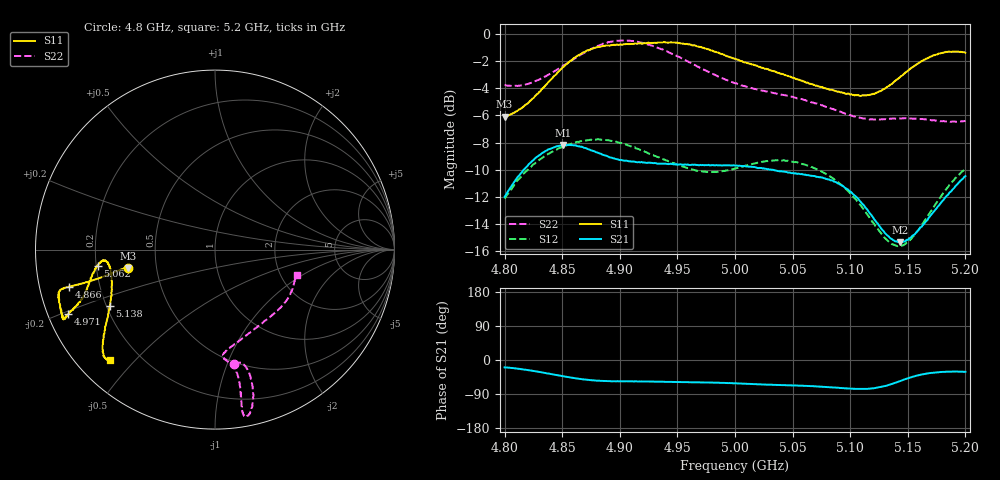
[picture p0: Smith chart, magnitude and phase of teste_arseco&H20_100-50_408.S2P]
! Network Analyzer HP8722D
! Hewlett-Packard
! Data name: Linha & Wilkinson
! Saver's name: Rodrigo Anjos
! Comments: Teste da utilização de aquisição
! continua pelo VNA HP8722D
! Time and date: 6/5/2025 15:58
!  Frequency  S11  S21  S12  S22
# HZ  S  MA R 50
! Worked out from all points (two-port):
!   401 points, 4.8 GHz to 5.2 GHz, reference 50 ohm
!   highest |S21| = -8.17 dB at 4.851 GHz (marker M1); lowest = -15.3 dB at 5.143 GHz (marker M2)
!   |S21| within 3 dB of the highest: 4.806 GHz to 5.093 GHz (286.9 MHz wide, 5.8 % of centre); 5.191776 GHz to end of sweep
!   lowest |S11| = -6.1 dB at 4.8 GHz (marker M3), VSWR 2.97, Z = 17 - j4.61 ohm
!   |S11| at or under -10 dB: nowhere
!   |S22| runs from -6.5 to -0.5 dB; largest |S21 - S12| = 0.62
!   S11 on the Smith chart (normalised r, x): 4.8 GHz: 0.34, -0.09; 4.866 GHz: 0.09, -0.12; 4.971 GHz: 0.06, -0.21; 5.062 GHz: 0.21, -0.07; 5.138 GHz: 0.21, -0.24; 5.2 GHz: 0.10, -0.43
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4.8e9  0.4961 -168.1  0.2512 -19.5  0.2478 -140.7  0.6486 -80.4
4.823e9  0.5694 -167.4  0.3374 -27.9  0.3242 -143.5  0.6604 -75.9
4.851e9  0.7555 -165.7  0.3902 -43.1  0.3849 -149.0  0.7652 -74.4
4.866e9  0.8407 -165.7  0.384 -50.1  0.4029 -151.6  0.8367 -75.1
4.867e9  0.8476 -165.7  0.3843 -50.6  0.4031 -151.8  0.8428 -75.3
4.898e9  0.9124 -162.7  0.3455 -55.9  0.3988 -156.2  0.9422 -78.7
4.914e9  0.9202 -159.4  0.3375 -56.3  0.3786 -157.0  0.9373 -80.2
4.934e9  0.9293 -156.2  0.3328 -57.4  0.3513 -155.5  0.8846 -80.4
4.971e9  0.8924 -156.3  0.3287 -59.1  0.3122 -146.4  0.7467 -79.6
5e9  0.8098 -158.9  0.3276 -61.7  0.3199 -137.1  0.6581 -81.1
5.038e9  0.7177 -166.0  0.3124 -65.9  0.3432 -134.4  0.6008 -85.7
5.062e9  0.6609 -172.1  0.3022 -68.5  0.3288 -136.2  0.5674 -83.9
5.067e9  0.6526 -172.9  0.3003 -69.0  0.3236 -136.6  0.5596 -82.7
5.082e9  0.6235 -174.5  0.291 -71.7  0.2997 -138.1  0.5336 -77.2
5.101e9  0.599 -172.1  0.2614 -75.7  0.2562 -138.6  0.5006 -66.6
5.117e9  0.5971 -164.9  0.2187 -75.5  0.2103 -135.1  0.4837 -55.3
5.134e9  0.6451 -154.2  0.1788 -65.3  0.171 -120.9  0.4866 -43.3
5.138e9  0.666 -151.8  0.1737 -61.3  0.1674 -115.8  0.4878 -40.9
5.143e9  0.691 -149.2  0.1709 -56.0  0.1658 -109.2  0.4888 -38.1
5.154e9  0.754 -144.4  0.1808 -44.4  0.1785 -95.1  0.4876 -32.3
5.174e9  0.8379 -138.3  0.2256 -32.7  0.236 -80.2  0.4793 -23.8
5.2e9  0.8507 -133.5  0.2995 -31.2  0.3188 -76.7  0.4775 -17.5
